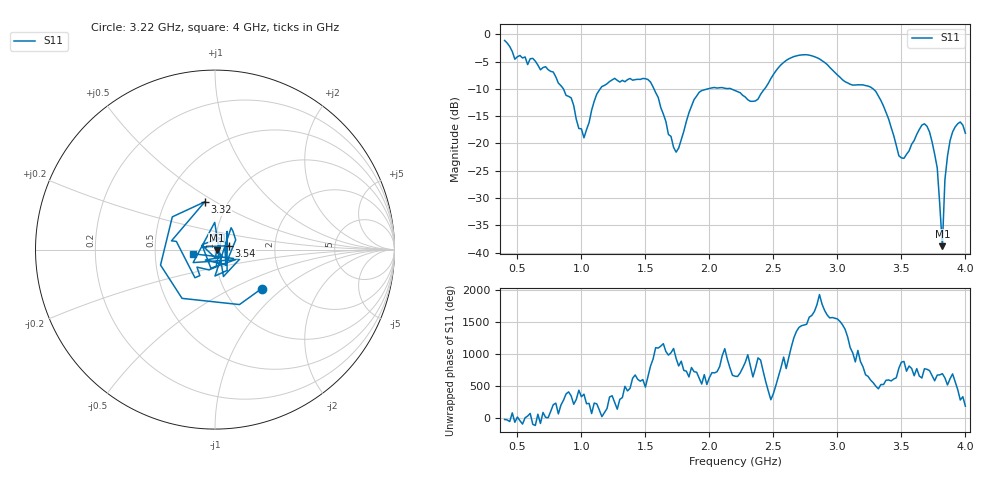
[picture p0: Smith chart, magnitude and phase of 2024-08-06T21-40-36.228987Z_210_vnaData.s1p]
!Created with skrf (http://scikit-rf.org).
# Hz S RI R 50.0
!freq ReS11 ImS11
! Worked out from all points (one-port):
!   181 points, 400 MHz to 4 GHz, reference 50 ohm
!   lowest |S11| = -38.8 dB at 3.82 GHz (marker M1), VSWR 1.02, Z = 51.1 - j0.448 ohm
!   |S11| at or under -10 dB: 859.6 MHz to 1.147 GHz (287.4 MHz wide, 28.6 % of centre); 1.567 GHz to 1.989 GHz (422.5 MHz wide, 23.8 % of centre); 3.279 GHz to end of sweep (the widest 3 of 4)
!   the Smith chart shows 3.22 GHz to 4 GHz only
!   S11 on the Smith chart (normalised r, x): 3.22 GHz: 1.49, -0.73; 3.32 GHz: 0.78, +0.45; 3.54 GHz: 1.16, +0.05; 4 GHz: 0.78, -0.04
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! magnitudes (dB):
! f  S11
! 400 MHz  -1.1
! 480 MHz  -4.6
! 620 MHz  -4.4
! 860 MHz  -10.0
! 1.02 GHz  -19.0
! 1.14 GHz  -10.2
! 1.3 GHz  -8.7
! 1.54 GHz  -8.8
! 1.72 GHz  -20.7
! 1.76 GHz  -20.8
! 1.92 GHz  -10.6
! 2.2 GHz  -10.3
! 2.36 GHz  -12.2
! 2.66 GHz  -4.1
! 3.1 GHz  -9.2
! 3.22 GHz  -9.4
! 3.32 GHz  -11.3
! 3.48 GHz  -22.2
! 3.54 GHz  -22.0
! 3.56 GHz  -21.4
! 3.66 GHz  -16.6
! 3.72 GHz  -17.9
! 3.78 GHz  -24.5
! 3.82 GHz  -38.8
! 3.84 GHz  -26.7
! 3.88 GHz  -19.5
! 3.96 GHz  -16.1
! 4 GHz  -18.1
